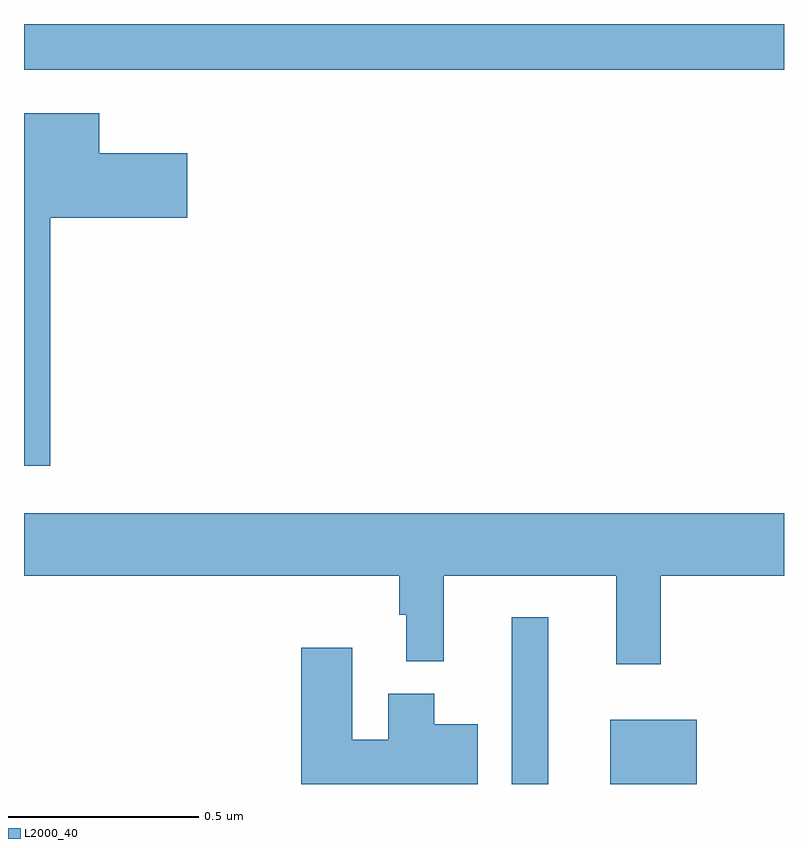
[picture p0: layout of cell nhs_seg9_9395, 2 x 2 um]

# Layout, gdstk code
import gdstk
lib = gdstk.Library(unit=1e-6, precision=1e-09)
def R(c, l, rs):  # rectangles x0, y0, x1, y1
    for r in rs: c.add(gdstk.rectangle(r[:2], r[2:], *l))
def P(c, l, *ps):  # polygons
    for p in ps: c.add(gdstk.Polygon(p, *l))
L2000_40 = (2000, 40)

nhs_seg9_9395 = lib.new_cell('nhs_seg9_9395')
R(nhs_seg9_9395, L2000_40, [(230.283,1234.5,230.38,1234.939), (230.543,1234.5,230.77,1234.669), (229,1236.38,231,1236.5)])
P(nhs_seg9_9395, L2000_40, [(229.069,1235.99),(229.429,1235.99),(229.429,1236.16),(229.198,1236.16),(229.198,1236.265),(229,1236.265),(229,1235.337),(229.069,1235.337)],
  [(230.675,1235.048),(231,1235.048),(231,1235.212),(229,1235.212),(229,1235.048),(229.987,1235.048),(229.987,1234.945),(230.006,1234.945),(230.006,1234.823),(230.105,1234.823),(230.105,1235.048),(230.558,1235.048),(230.558,1234.815),(230.675,1234.815)],
  [(230.194,1234.657),(230.08,1234.657),(230.08,1234.738),(229.958,1234.738),(229.958,1234.617),(229.864,1234.617),(229.864,1234.858),(229.73,1234.858),(229.73,1234.5),(230.194,1234.5)])

lib.write_gds('nhs_seg9_9395.gds')
